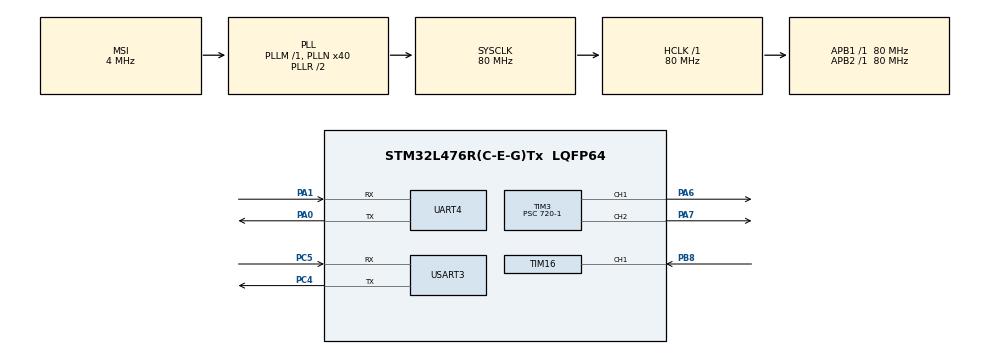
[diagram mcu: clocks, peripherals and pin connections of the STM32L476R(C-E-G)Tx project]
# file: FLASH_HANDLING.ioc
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Mcu.Family=STM32L4
Mcu.Name=STM32L476R(C-E-G)Tx
Mcu.Package=LQFP64
NVIC.PriorityGroup=NVIC_PRIORITYGROUP_4
NVIC.TIM1_UP_TIM16_IRQn=true\:0\:0\:false\:false\:true\:true\:true\:true
NVIC.TIM3_IRQn=true\:0\:0\:false\:false\:true\:true\:true\:true
NVIC.TIM4_IRQn=true\:0\:0\:false\:false\:true\:true\:true\:true
NVIC.UART4_IRQn=true\:0\:0\:false\:false\:true\:true\:true\:true
NVIC.USART3_IRQn=true\:0\:0\:false\:false\:true\:true\:true\:true
PA0.Mode=Asynchronous
PA0.Signal=UART4_TX
PA1.Mode=Asynchronous
PA1.Signal=UART4_RX
PA6.Signal=S_TIM3_CH1
PA7.Signal=S_TIM3_CH2
PB8.Signal=S_TIM16_CH1
PC4.Mode=Asynchronous
PC4.Signal=USART3_TX
PC5.Mode=Asynchronous
PC5.Signal=USART3_RX
ProjectManager.HeapSize=0x200
ProjectManager.StackSize=0x400
ProjectManager.TargetToolchain=STM32CubeIDE
RCC.AHBFreq_Value=80000000
RCC.APB1Freq_Value=80000000
RCC.APB1TimFreq_Value=80000000
RCC.APB2Freq_Value=80000000
RCC.APB2TimFreq_Value=80000000
RCC.CortexFreq_Value=80000000
RCC.HCLKFreq_Value=80000000
RCC.HSE_VALUE=8000000
RCC.HSI_VALUE=16000000
RCC.LSE_VALUE=32768
RCC.MSI_VALUE=4000000
RCC.PLLN=40
RCC.SYSCLKFreq_VALUE=80000000
RCC.SYSCLKSource=RCC_SYSCLKSOURCE_PLLCLK
RCC.VCOOutputFreq_Value=160000000
SH.S_TIM16_CH1.0=TIM16_CH1,Input_Capture1_from_TI1
SH.S_TIM3_CH1.0=TIM3_CH1,PWM Generation1 CH1
SH.S_TIM3_CH2.0=TIM3_CH2,PWM Generation2 CH2
TIM16.Channel=TIM_CHANNEL_1
TIM16.Period=100-1
TIM16.Prescaler=1000-1
TIM3.Channel-PWM\ Generation1\ CH1=TIM_CHANNEL_1
TIM3.Channel-PWM\ Generation2\ CH2=TIM_CHANNEL_2
TIM3.Period=200-1
TIM3.Prescaler=720-1
TIM4.Channel-PWM\ Generation1\ No\ Output=TIM_CHANNEL_1
TIM4.Prescaler=720-1
USART3.VirtualMode-Asynchronous=VM_ASYNC
VP_TIM16_VS_ClockSourceINT.Mode=Enable_Timer
VP_TIM4_VS_no_output1.Mode=PWM Generation1 No Output
board=custom

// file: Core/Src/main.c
/* USER CODE BEGIN Header */
/**
  ******************************************************************************
  * @file           : main.c
  * @author			: Matheus Gouveia
  * @brief   		: A Flash handling application for STM32L746RG
  *
  ******************************************************************************
  * @attention
  *
  * <h2><center>&copy; Copyright (c) 2022 STMicroelectronics.
  * All rights reserved.</center></h2>
  *
  * This software component is licensed by ST under BSD 3-Clause license,
  * the "License"; You may not use this file except in compliance with the
  * License. You may obtain a copy of the License at:
  *                        opensource.org/licenses/BSD-3-Clause
  *
  *
  *  Created on: 01/03/2024
  *
  *
  ******************************************************************************
  */
/* USER CODE END Header */
#include "main.h"

/* USER CODE BEGIN Includes */

#include <sys_definitions.h>
#include <data_functions.h>
#include <flash_handler.h>

/* USER CODE END Includes */

void SystemClock_Config(void);
static void MX_GPIO_Init(void);
static void MX_TIM3_Init(void);
static void MX_TIM4_Init(void);
static void MX_TIM16_Init(void);
static void MX_UART4_Init(void);
static void MX_USART3_UART_Init(void);

/* USER CODE BEGIN 0 */

/**------------------------------------------------------------------------------------
  * @brief  Init parameters and verify flash memory, look for saved data.
  *
  * @param  none
  *
  * @retval void
  */
void init_parameters(){

	char* token1;

	char STR_VAR[30];
	char INT_VAR_READ[8];
	char FLOAT_VAR_READ[8];
	char SMALL_INT_VAR_READ[4];

	uint32_t INT_VAR;
	float FLOAT_VAR;
	uint8_t SMALL_INT_VAR;

	FLASH_read_string_0xFF(END_STG, BUFFER_FLASH_L);

	if (strlen(BUFFER_FLASH_L)){

		/* Data found on flash */

		write_UART("\n\r\n\rData saved on Flash:\n\r");
		write_UART(BUFFER_FLASH_L);

		/* Get data */
		token1 = strtok(BUFFER_FLASH_L, ","); strcpy(STR_VAR, token1);
		token1 = strtok(NULL, ","); strcpy(INT_VAR_READ, token1);
		token1 = strtok(NULL, ","); strcpy(FLOAT_VAR_READ, token1);
		token1 = strtok(NULL, ","); strcpy(SMALL_INT_VAR_READ, token1);

		INT_VAR = atoi(INT_VAR_READ);
		FLOAT_VAR = atof(FLOAT_VAR_READ);
		SMALL_INT_VAR = atoi(SMALL_INT_VAR_READ);

		/* Verify corrupted data */
		if(strlen(STR_VAR) < MAX_STR_SIZE && strlen(STR_VAR) > 0){
			memset(STRING_VAR_GLOBAL,0,strlen(STRING_VAR_GLOBAL));
			strcat(STRING_VAR_GLOBAL, STR_VAR);
		}
		if(!((INT_VAR > MAX_INT) || (INT_VAR < MIN_INT))){ INT_VAR_GLOBAL = INT_VAR;}
		if(!((FLOAT_VAR > MAX_FLOAT) || (FLOAT_VAR < MIN_FLOAT))){ FLOAT_VAR_GLOBAL = FLOAT_VAR;}
		if(!((SMALL_INT_VAR > MAX_SMALL_INT) || (SMALL_INT_VAR < MIN_SMALL_INT))){ SMALL_INT_VAR_GLOBAL = SMALL_INT_VAR;}

	}

	/* Erase current char variables */
	memset(INT_VAR_CHAR_GLOBAL, 0, strlen(INT_VAR_CHAR_GLOBAL));
	memset(FLOAT_VAR_CHAR_GLOBAL, 0, strlen(FLOAT_VAR_CHAR_GLOBAL));
	memset(SMALL_INT_VAR_CHAR_GLOBAL, 0, strlen(SMALL_INT_VAR_CHAR_GLOBAL));
	memset(STRING_VAR_GLOBAL, 0, strlen(STRING_VAR_GLOBAL));

	/* Update char variables */
	sprintf(INT_VAR_CHAR_GLOBAL, "%d", INT_VAR_GLOBAL);
	sprintf(SMALL_INT_VAR_CHAR_GLOBAL, "%d", SMALL_INT_VAR_GLOBAL);
	ftoa(FLOAT_VAR_GLOBAL, FLOAT_VAR_CHAR_GLOBAL, 2);

}

/* USER CODE END 0 */

int main(void)
{

  /* MCU Configuration--------------------------------------------------------*/

  /* Reset of all peripherals, Initializes the Flash interface and the Systick. */
  HAL_Init();

  /* Configure the system clock */
  SystemClock_Config();

  /* Initialize all configured peripherals */
  MX_GPIO_Init();
  MX_TIM3_Init();
  MX_TIM4_Init();
  MX_TIM16_Init();
  MX_UART4_Init();
  MX_USART3_UART_Init();
  /* USER CODE BEGIN 2 */
  init_parameters();
  /* USER CODE END 2 */

  /* Infinite loop */
  /* USER CODE BEGIN WHILE */
  while (1)
  {
	// Example word
	FLASH_erase(END_INICIAL, 2);
	FLASH_write_32bit(END_INICIAL, BUFFER_FLASH);

	HAL_Delay(100);
	FLASH_read_32bit(END_INICIAL, BUFFER_FLASH_L);

	// Example half-word
	//FLASH_erase(END_INICIAL, 2);
	//FLASH_write_16bit(END_INICIAL, BUFFER_FLASH);
	//HAL_Delay(100);
	//FLASH_read_16bit(END_INICIAL, BUFFER_FLASH_L);

	// Example string
	//FLASH_write_string(END_INICIAL, "Teste");
	//HAL_Delay(100);
	//FLASH_read_string_0xFF(END_INICIAL, BUFFER_FLASH_L);

	HAL_Delay(1000);

    /* USER CODE END WHILE */

  }
}

void SystemClock_Config(void)
{
  RCC_OscInitTypeDef RCC_OscInitStruct = {0};
  RCC_ClkInitTypeDef RCC_ClkInitStruct = {0};

  /** Configure the main internal regulator output voltage
  */
  if (HAL_PWREx_ControlVoltageScaling(PWR_REGULATOR_VOLTAGE_SCALE1) != HAL_OK)
  {
    Error_Handler();
  }

  /** Initializes the RCC Oscillators according to the specified parameters
  * in the RCC_OscInitTypeDef structure.
  */
  RCC_OscInitStruct.OscillatorType = RCC_OSCILLATORTYPE_LSI|RCC_OSCILLATORTYPE_MSI;
  RCC_OscInitStruct.LSIState = RCC_LSI_ON;
  RCC_OscInitStruct.MSIState = RCC_MSI_ON;
  RCC_OscInitStruct.MSICalibrationValue = 0;
  RCC_OscInitStruct.MSIClockRange = RCC_MSIRANGE_6;
  RCC_OscInitStruct.PLL.PLLState = RCC_PLL_ON;
  RCC_OscInitStruct.PLL.PLLSource = RCC_PLLSOURCE_MSI;
  RCC_OscInitStruct.PLL.PLLM = 1;
  RCC_OscInitStruct.PLL.PLLN = 40;
  RCC_OscInitStruct.PLL.PLLP = RCC_PLLP_DIV7;
  RCC_OscInitStruct.PLL.PLLQ = RCC_PLLQ_DIV2;
  RCC_OscInitStruct.PLL.PLLR = RCC_PLLR_DIV2;
  if (HAL_RCC_OscConfig(&RCC_OscInitStruct) != HAL_OK)
  {
    Error_Handler();
  }

  /** Initializes the CPU, AHB and APB buses clocks
  */
  RCC_ClkInitStruct.ClockType = RCC_CLOCKTYPE_HCLK|RCC_CLOCKTYPE_SYSCLK
                              |RCC_CLOCKTYPE_PCLK1|RCC_CLOCKTYPE_PCLK2;
  RCC_ClkInitStruct.SYSCLKSource = RCC_SYSCLKSOURCE_PLLCLK;
  RCC_ClkInitStruct.AHBCLKDivider = RCC_SYSCLK_DIV1;
  RCC_ClkInitStruct.APB1CLKDivider = RCC_HCLK_DIV1;
  RCC_ClkInitStruct.APB2CLKDivider = RCC_HCLK_DIV1;

  if (HAL_RCC_ClockConfig(&RCC_ClkInitStruct, FLASH_LATENCY_4) != HAL_OK)
  {
    Error_Handler();
  }
}

static void MX_TIM3_Init(void)
{

  TIM_MasterConfigTypeDef sMasterConfig = {0};
  TIM_OC_InitTypeDef sConfigOC = {0};

  htim3.Instance = TIM3;
  htim3.Init.Prescaler = 720-1;
  htim3.Init.CounterMode = TIM_COUNTERMODE_UP;
  htim3.Init.Period = 200-1;
  htim3.Init.ClockDivision = TIM_CLOCKDIVISION_DIV1;
  htim3.Init.AutoReloadPreload = TIM_AUTORELOAD_PRELOAD_DISABLE;
  if (HAL_TIM_PWM_Init(&htim3) != HAL_OK)
  {
    Error_Handler();
  }
  sMasterConfig.MasterOutputTrigger = TIM_TRGO_RESET;
  sMasterConfig.MasterSlaveMode = TIM_MASTERSLAVEMODE_DISABLE;
  if (HAL_TIMEx_MasterConfigSynchronization(&htim3, &sMasterConfig) != HAL_OK)
  {
    Error_Handler();
  }
  sConfigOC.OCMode = TIM_OCMODE_PWM1;
  sConfigOC.Pulse = 0;
  sConfigOC.OCPolarity = TIM_OCPOLARITY_HIGH;
  sConfigOC.OCFastMode = TIM_OCFAST_DISABLE;
  if (HAL_TIM_PWM_ConfigChannel(&htim3, &sConfigOC, TIM_CHANNEL_1) != HAL_OK)
  {
    Error_Handler();
  }
  if (HAL_TIM_PWM_ConfigChannel(&htim3, &sConfigOC, TIM_CHANNEL_2) != HAL_OK)
  {
    Error_Handler();
  }
  HAL_TIM_MspPostInit(&htim3);

}

static void MX_TIM4_Init(void)
{

  TIM_MasterConfigTypeDef sMasterConfig = {0};
  TIM_OC_InitTypeDef sConfigOC = {0};

  htim4.Instance = TIM4;
  htim4.Init.Prescaler = 720-1;
  htim4.Init.CounterMode = TIM_COUNTERMODE_UP;
  htim4.Init.Period = 65535;
  htim4.Init.ClockDivision = TIM_CLOCKDIVISION_DIV1;
  htim4.Init.AutoReloadPreload = TIM_AUTORELOAD_PRELOAD_DISABLE;
  if (HAL_TIM_PWM_Init(&htim4) != HAL_OK)
  {
    Error_Handler();
  }
  sMasterConfig.MasterOutputTrigger = TIM_TRGO_RESET;
  sMasterConfig.MasterSlaveMode = TIM_MASTERSLAVEMODE_DISABLE;
  if (HAL_TIMEx_MasterConfigSynchronization(&htim4, &sMasterConfig) != HAL_OK)
  {
    Error_Handler();
  }
  sConfigOC.OCMode = TIM_OCMODE_PWM1;
  sConfigOC.Pulse = 0;
  sConfigOC.OCPolarity = TIM_OCPOLARITY_HIGH;
  sConfigOC.OCFastMode = TIM_OCFAST_DISABLE;
  if (HAL_TIM_PWM_ConfigChannel(&htim4, &sConfigOC, TIM_CHANNEL_1) != HAL_OK)
  {
    Error_Handler();
  }

}

static void MX_TIM16_Init(void)
{

  TIM_IC_InitTypeDef sConfigIC = {0};

  htim16.Instance = TIM16;
  htim16.Init.Prescaler = 1000-1;
  htim16.Init.CounterMode = TIM_COUNTERMODE_UP;
  htim16.Init.Period = 100-1;
  htim16.Init.ClockDivision = TIM_CLOCKDIVISION_DIV1;
  htim16.Init.RepetitionCounter = 0;
  htim16.Init.AutoReloadPreload = TIM_AUTORELOAD_PRELOAD_DISABLE;
  if (HAL_TIM_Base_Init(&htim16) != HAL_OK)
  {
    Error_Handler();
  }
  if (HAL_TIM_IC_Init(&htim16) != HAL_OK)
  {
    Error_Handler();
  }
  sConfigIC.ICPolarity = TIM_INPUTCHANNELPOLARITY_RISING;
  sConfigIC.ICSelection = TIM_ICSELECTION_DIRECTTI;
  sConfigIC.ICPrescaler = TIM_ICPSC_DIV1;
  sConfigIC.ICFilter = 0;
  if (HAL_TIM_IC_ConfigChannel(&htim16, &sConfigIC, TIM_CHANNEL_1) != HAL_OK)
  {
    Error_Handler();
  }

}

static void MX_UART4_Init(void)
{

  huart4.Instance = UART4;
  huart4.Init.BaudRate = 115200;
  huart4.Init.WordLength = UART_WORDLENGTH_8B;
  huart4.Init.StopBits = UART_STOPBITS_1;
  huart4.Init.Parity = UART_PARITY_NONE;
  huart4.Init.Mode = UART_MODE_TX_RX;
  huart4.Init.HwFlowCtl = UART_HWCONTROL_NONE;
  huart4.Init.OverSampling = UART_OVERSAMPLING_16;
  huart4.Init.OneBitSampling = UART_ONE_BIT_SAMPLE_DISABLE;
  huart4.AdvancedInit.AdvFeatureInit = UART_ADVFEATURE_NO_INIT;
  if (HAL_UART_Init(&huart4) != HAL_OK)
  {
    Error_Handler();
  }

}

static void MX_USART3_UART_Init(void)
{

  huart3.Instance = USART3;
  huart3.Init.BaudRate = 115200;
  huart3.Init.WordLength = UART_WORDLENGTH_8B;
  huart3.Init.StopBits = UART_STOPBITS_1;
  huart3.Init.Parity = UART_PARITY_NONE;
  huart3.Init.Mode = UART_MODE_TX_RX;
  huart3.Init.HwFlowCtl = UART_HWCONTROL_NONE;
  huart3.Init.OverSampling = UART_OVERSAMPLING_16;
  huart3.Init.OneBitSampling = UART_ONE_BIT_SAMPLE_DISABLE;
  huart3.AdvancedInit.AdvFeatureInit = UART_ADVFEATURE_NO_INIT;
  if (HAL_UART_Init(&huart3) != HAL_OK)
  {
    Error_Handler();
  }

}

static void MX_GPIO_Init(void)
{

  /* GPIO Ports Clock Enable */
  __HAL_RCC_GPIOA_CLK_ENABLE();
  __HAL_RCC_GPIOC_CLK_ENABLE();
  __HAL_RCC_GPIOB_CLK_ENABLE();

}

void Error_Handler(void)
{
  __disable_irq();
  while (1)
  {
  }
}
